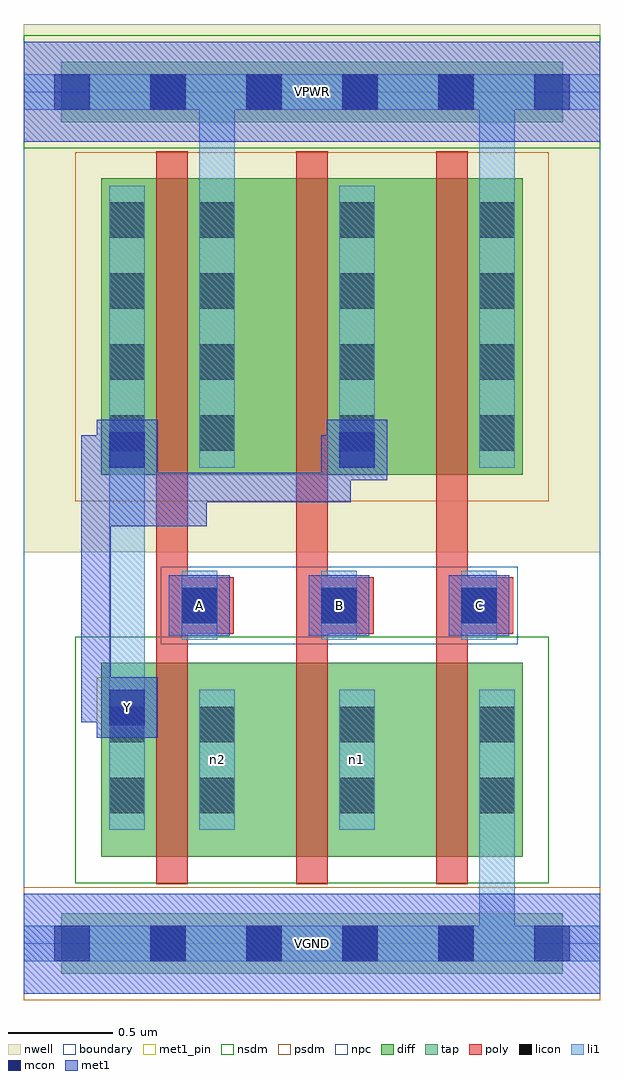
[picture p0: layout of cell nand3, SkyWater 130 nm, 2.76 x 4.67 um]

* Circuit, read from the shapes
.subckt nand3 A B C VGND VPWR Y n1 n2
XM1 n2 A Y VGND sky130_fd_pr__nfet_01v8 w=0.93 l=0.15
XM2 n1 B n2 VGND sky130_fd_pr__nfet_01v8 w=0.93 l=0.15
XM3 VGND C n1 VGND sky130_fd_pr__nfet_01v8 w=0.93 l=0.15
XM4 VPWR A Y VPWR sky130_fd_pr__pfet_01v8 w=1.42 l=0.15
XM5 Y B VPWR VPWR sky130_fd_pr__pfet_01v8 w=1.42 l=0.15
XM6 VPWR C Y VPWR sky130_fd_pr__pfet_01v8 w=1.42 l=0.15
.ends

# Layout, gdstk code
import gdstk
lib = gdstk.Library(unit=1e-6, precision=1e-09)
def R(c, l, rs):  # rectangles x0, y0, x1, y1
    for r in rs: c.add(gdstk.rectangle(r[:2], r[2:], *l))
def A(c, l, x, y, w, h, nx, ny, dx, dy):  # array of equal rectangles
    R(c, l, [(x+i*dx, y+j*dy, x+i*dx+w, y+j*dy+h) for i in range(nx) for j in range(ny)])
nwell = (64, 20)
diff = (65, 20)
tap = (65, 44)
poly = (66, 20)
licon = (66, 44)
li1 = (67, 20)
mcon = (67, 44)
met1_pin = (68, 16)
met1 = (68, 20)
nsdm = (93, 44)
psdm = (94, 20)
npc = (95, 20)
boundary = (235, 4)

nand3 = lib.new_cell('nand3')
R(nand3, nwell, [(0,1.875,2.76,4.405)])
R(nand3, diff, [(0.37,0.415,2.39,1.345), (0.37,2.245,2.39,3.665)])
R(nand3, tap, [(0.18,-0.145,2.58,0.145), (0.18,3.935,2.58,4.225)])
A(nand3, poly, 0.635, 0.285, 0.15, 3.51, 3, 1, 0.67, 0)
A(nand3, poly, 0.675, 1.485, 0.33, 0.27, 3, 1, 0.67, 0)
A(nand3, licon, 0.605, -0.085, 0.17, 0.17, 4, 2, 0.46, 4.08)
A(nand3, licon, 0.84, 0.625, 0.17, 0.17, 3, 2, 0.67, 0.34)
A(nand3, licon, 0.755, 1.535, 0.17, 0.17, 3, 1, 0.67, 0)
A(nand3, licon, 0.41, 2.36, 0.17, 0.17, 1, 4, 0, 0.34)
A(nand3, licon, 0.84, 2.36, 0.17, 0.17, 3, 4, 0.67, 0.34)
R(nand3, licon, [(0.41,0.625,0.58,0.795), (0.41,0.965,0.58,1.135)])
A(nand3, li1, 0.84, 0.545, 0.17, 0.67, 3, 1, 0.67, 0)
A(nand3, li1, 0.755, 1.455, 0.17, 0.33, 3, 1, 0.67, 0)
A(nand3, li1, 0.84, 2.28, 0.17, 1.35, 3, 1, 0.67, 0)
R(nand3, li1, [(0,-0.085,2.76,0.085), (2.18,-0.085,2.35,1.215), (0.41,0.545,0.58,1.215), (0.41,0.545,0.58,3.63), (0.41,2.28,0.58,3.63), (0.84,2.28,1.01,4.165), (2.18,2.28,2.35,4.165), (0,3.995,2.76,4.165)])
A(nand3, mcon, 0.145, -0.085, 0.17, 0.17, 6, 2, 0.46, 4.08)
A(nand3, mcon, 0.755, 1.535, 0.17, 0.17, 3, 1, 0.67, 0)
R(nand3, mcon, [(0.41,1.045,0.58,1.215), (0.41,2.28,0.58,2.45), (1.51,2.28,1.68,2.45)])
A(nand3, met1_pin, 0.695, 1.475, 0.29, 0.29, 3, 1, 0.67, 0)
R(nand3, met1_pin, [(0,-0.24,2.76,0.24), (0.35,0.985,0.64,1.275), (0,3.84,2.76,4.32)])
A(nand3, met1, 0.695, 1.475, 0.29, 0.29, 3, 1, 0.67, 0)
R(nand3, met1, [(0,-0.24,2.76,0.24), (0.35,0.985,0.64,1.275), (0.275,1.06,0.565,1.2), (0.275,1.06,0.415,1.335), (0.275,1.195,0.415,2.255), (0.275,2,0.875,2.14), (0.735,2,0.875,2.255), (0.275,2.115,0.415,2.435), (0.735,2.115,1.565,2.255), (1.425,2.115,1.565,2.435), (0.35,2.14,0.64,2.22), (0.64,2.14,0.735,2.22), (0.35,2.22,0.64,2.51), (0.64,2.22,0.735,2.255), (1.45,2.22,1.74,2.51), (0.275,2.295,0.565,2.435), (1.425,2.295,1.665,2.435), (0,3.84,2.76,4.32)])
R(nand3, nsdm, [(0.245,0.29,2.515,1.47), (0,3.81,2.76,4.35)])
R(nand3, psdm, [(0,-0.27,2.76,0.27), (0.245,2.12,2.515,3.79)])
R(nand3, npc, [(0.655,1.435,2.365,1.805)])
R(nand3, boundary, [(0,0,2.76,4.08)])
nand3.add(gdstk.Label('n2', (0.925,0.88), layer=67, texttype=5))
nand3.add(gdstk.Label('n1', (1.595,0.88), layer=67, texttype=5))
nand3.add(gdstk.Label('A', (0.84,1.62), layer=68, texttype=5))
nand3.add(gdstk.Label('B', (1.51,1.62), layer=68, texttype=5))
nand3.add(gdstk.Label('C', (2.18,1.62), layer=68, texttype=5))
nand3.add(gdstk.Label('Y', (0.495,1.13), layer=68, texttype=5))
nand3.add(gdstk.Label('VPWR', (1.38,4.08), layer=68, texttype=5))
nand3.add(gdstk.Label('VGND', (1.38,0), layer=68, texttype=5))
nand3.add(gdstk.Label('A', (0.84,1.62), layer=68, texttype=16))
nand3.add(gdstk.Label('B', (1.51,1.62), layer=68, texttype=16))
nand3.add(gdstk.Label('C', (2.18,1.62), layer=68, texttype=16))
nand3.add(gdstk.Label('Y', (0.495,1.13), layer=68, texttype=16))
nand3.add(gdstk.Label('VPWR', (1.38,4.08), layer=68, texttype=16))
nand3.add(gdstk.Label('VGND', (1.38,0), layer=68, texttype=16))

lib.write_gds('nand3.gds')
